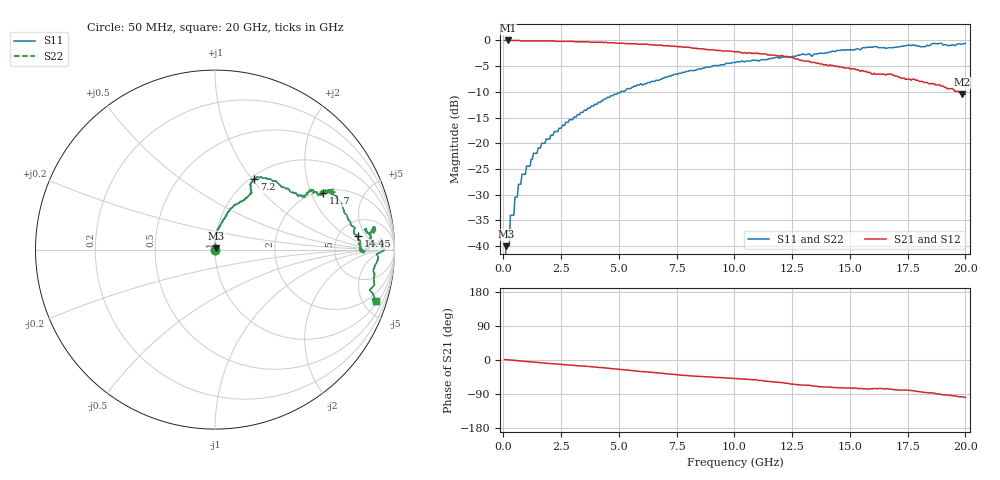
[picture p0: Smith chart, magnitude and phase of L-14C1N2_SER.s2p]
# MHZ S MA R 50
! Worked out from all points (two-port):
!   400 points, 50 MHz to 20 GHz, reference 50 ohm
!   highest |S21| = 0.00 dB at 200 MHz (marker M1); lowest = -10.5 dB at 19.85 GHz (marker M2)
!   |S21| within 3 dB of the highest: start of sweep to 11.91 GHz; 11.99 GHz to 12.11 GHz (120.4 MHz wide, 0.999 % of centre)
!   lowest |S11| = -40.0 dB at 100 MHz (marker M3), VSWR 1.02, Z = 50.8 + j0.623 ohm
!   |S11| at or under -10 dB: start of sweep to 5.081 GHz
!   |S22| runs from - to -0.5 dB; largest |S21 - S12| = 0
!   S11 on the Smith chart (normalised r, x): 50 MHz: 1.00, +0.00; 7.2 GHz: 1.04, +1.03; 11.7 GHz: 2.10, +2.45; 14.45 GHz: 7.60, +3.24; 20 GHz: 1.23, -6.11
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50  0 7.2  1 1.1  1 1.1  0 7.2
100  0.01 37.8  1 1.0  1 1.0  0.01 37.8
200  0.01 72.9  1 0.6  1 0.6  0.01 72.9
250  0.01 77.4  1 0.3  1 0.3  0.01 77.4
300  0.02 78.9  1 0.0  1 0.0  0.02 78.9
450  0.02 77.5  1 -0.7  1 -0.7  0.02 77.5
500  0.03 82.1  1 -1.1  1 -1.1  0.03 82.1
600  0.03 87.8  1 -1.8  1 -1.8  0.03 87.8
650  0.04 89.1  1 -2.1  1 -2.1  0.04 89.1
1300  0.08 87.5  0.99 -5.5  0.99 -5.5  0.08 87.5
3400  0.2 71.9  0.97 -15.9  0.97 -15.9  0.2 71.9
6700  0.41 61.4  0.9 -34.3  0.9 -34.3  0.41 61.4
7200  0.45 61.0  0.88 -37.3  0.88 -37.3  0.45 61.0
10050  0.61 31.4  0.77 -48.8  0.77 -48.8  0.61 31.4
11700  0.68 27.5  0.72 -57.9  0.72 -57.9  0.68 27.5
13350  0.7 27.6  0.61 -68.1  0.61 -68.1  0.7 27.6
14450  0.8 5.5  0.56 -73.0  0.56 -73.0  0.8 5.5
15350  0.83 -1.2  0.52 -75.5  0.52 -75.5  0.83 -1.2
16700  0.85 7.5  0.47 -76.6  0.47 -76.6  0.85 7.5
18550  0.93 3.5  0.38 -86.3  0.38 -86.3  0.93 3.5
19850  0.92 -17.4  0.3 -96.9  0.3 -96.9  0.92 -17.4
20000  0.94 -17.9  0.3 -98.5  0.3 -98.5  0.94 -17.9
